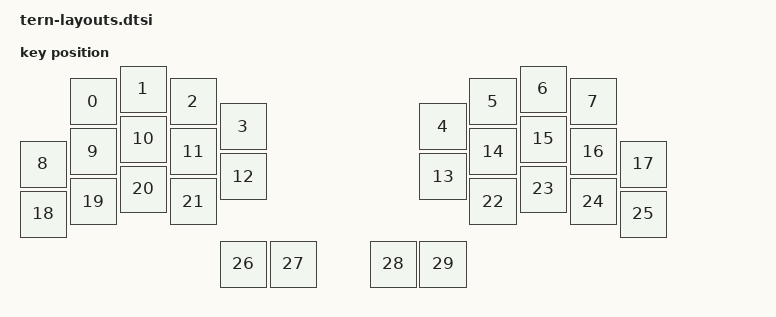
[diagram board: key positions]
#include <physical_layouts.dtsi>

/ {
    physical_layout0: physical_layout_0 {
        compatible = "zmk,physical-layout";
        display-name = "Default";

        kscan = <&kscan0>;
        transform = <&matrix_transform0>;

        keys  //                     w   h    x    y     rot    rx    ry
            = <&key_physical_attrs 100 100  100   25       0     0     0>
            , <&key_physical_attrs 100 100  200    0       0     0     0>
            , <&key_physical_attrs 100 100  300   25       0     0     0>
            , <&key_physical_attrs 100 100  400   75       0     0     0>
            , <&key_physical_attrs 100 100  800   75       0     0     0>
            , <&key_physical_attrs 100 100  900   25       0     0     0>
            , <&key_physical_attrs 100 100 1000    0       0     0     0>
            , <&key_physical_attrs 100 100 1100   25       0     0     0>
            , <&key_physical_attrs 100 100    0  150       0     0     0>
            , <&key_physical_attrs 100 100  100  125       0     0     0>
            , <&key_physical_attrs 100 100  200  100       0     0     0>
            , <&key_physical_attrs 100 100  300  125       0     0     0>
            , <&key_physical_attrs 100 100  400  175       0     0     0>
            , <&key_physical_attrs 100 100  800  175       0     0     0>
            , <&key_physical_attrs 100 100  900  125       0     0     0>
            , <&key_physical_attrs 100 100 1000  100       0     0     0>
            , <&key_physical_attrs 100 100 1100  125       0     0     0>
            , <&key_physical_attrs 100 100 1200  150       0     0     0>
            , <&key_physical_attrs 100 100    0  250       0     0     0>
            , <&key_physical_attrs 100 100  100  225       0     0     0>
            , <&key_physical_attrs 100 100  200  200       0     0     0>
            , <&key_physical_attrs 100 100  300  225       0     0     0>
            , <&key_physical_attrs 100 100  900  225       0     0     0>
            , <&key_physical_attrs 100 100 1000  200       0     0     0>
            , <&key_physical_attrs 100 100 1100  225       0     0     0>
            , <&key_physical_attrs 100 100 1200  250       0     0     0>
            , <&key_physical_attrs 100 100  400  350       0     0     0>
            , <&key_physical_attrs 100 100  500  350       0     0     0>
            , <&key_physical_attrs 100 100  700  350       0     0     0>
            , <&key_physical_attrs 100 100  800  350       0     0     0>
            ;
    };
};
